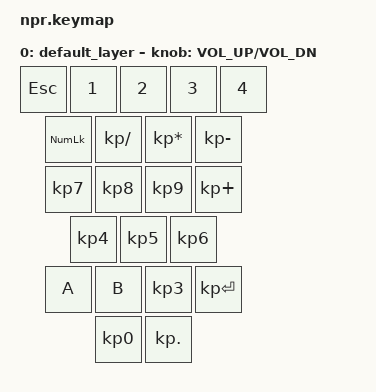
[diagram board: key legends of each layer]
#include <behaviors.dtsi>
#include <dt-bindings/zmk/keys.h>
#include <dt-bindings/zmk/bt.h>

/ {
    keymap {
        compatible = "zmk,keymap";

        default_layer {
                // -------------------------
                // | ESC | CAL | TAB | PEL |
                // | NUM |  /  |  *  |  -  |
                // |  7  |  8  |  9  |  +  |
                // |  4  |  5  |  6  |     |
                // |  1  |  2  |  3  | ENT |
                // |    0      |  .        |
                // -------------------------
            bindings = <
                &kp ESC &kp N1 &kp N2 &kp N3 &kp N4  
                &kp KP_NLCK &kp KP_DIVIDE &kp KP_MULTIPLY &kp KP_SUBTRACT 
                &kp KP_N7   &kp KP_N8     &kp KP_N9       &kp KP_PLUS
                &kp KP_N4   &kp KP_N5     &kp KP_N6        
                &kp A   &kp B     &kp KP_N3       &kp KP_ENTER         
                &kp KP_N0                 &kp KP_DOT           
            >;
            sensor-bindings = <&inc_dec_kp C_VOL_UP C_VOL_DN>;
        };
    };
};

